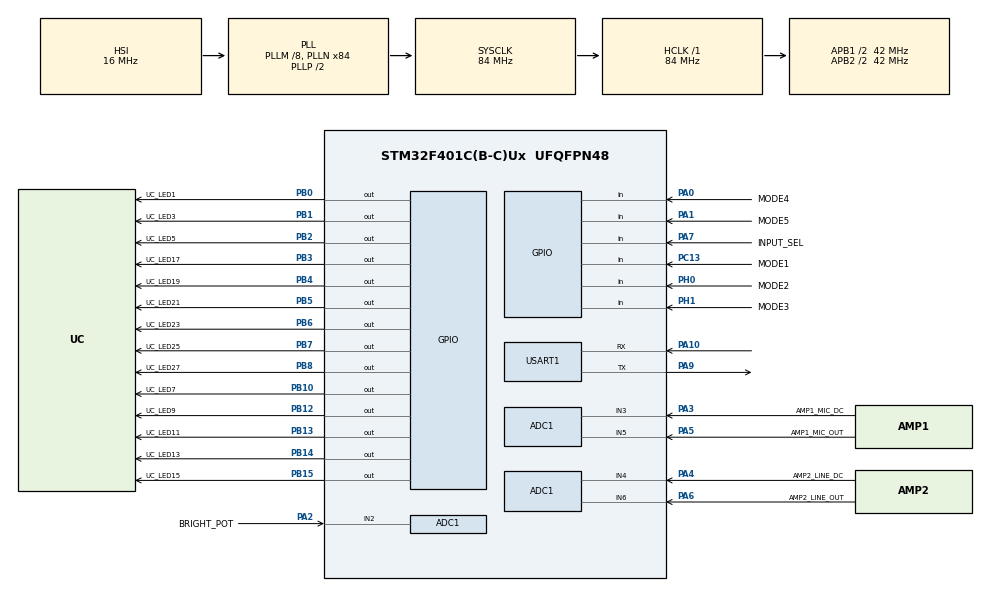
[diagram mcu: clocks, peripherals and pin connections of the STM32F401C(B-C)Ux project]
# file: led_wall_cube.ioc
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ADC1.Channel-0\#ChannelRegularConversion=ADC_CHANNEL_5
ADC1.Channel-5\#ChannelRegularConversion=ADC_CHANNEL_6
ADC1.Channel-6\#ChannelRegularConversion=ADC_CHANNEL_2
ADC1.ContinuousConvMode=ENABLE
ADC1.DMAContinuousRequests=ENABLE
ADC1.DataAlign=ADC_DATAALIGN_RIGHT
ADC1.EOCSelection=ADC_EOC_SEQ_CONV
ADC1.NbrOfConversion=3
ADC1.NbrOfConversionFlag=1
ADC1.Rank-0\#ChannelRegularConversion=1
ADC1.Rank-5\#ChannelRegularConversion=2
ADC1.Rank-6\#ChannelRegularConversion=3
ADC1.SamplingTime-0\#ChannelRegularConversion=ADC_SAMPLETIME_144CYCLES
ADC1.SamplingTime-5\#ChannelRegularConversion=ADC_SAMPLETIME_144CYCLES
ADC1.SamplingTime-6\#ChannelRegularConversion=ADC_SAMPLETIME_144CYCLES
ADC1.master=1
ARM.CMSIS.5.6.0.CMSISJjCORE=true
ARM.CMSIS.5.6.0.CMSISJjDSP=Source
Dma.ADC1.0.Direction=DMA_PERIPH_TO_MEMORY
Dma.ADC1.0.FIFOMode=DMA_FIFOMODE_DISABLE
Dma.ADC1.0.Instance=DMA2_Stream4
Dma.ADC1.0.MemDataAlignment=DMA_MDATAALIGN_HALFWORD
Dma.ADC1.0.MemInc=DMA_MINC_ENABLE
Dma.ADC1.0.Mode=DMA_CIRCULAR
Dma.ADC1.0.PeriphDataAlignment=DMA_PDATAALIGN_HALFWORD
Dma.ADC1.0.PeriphInc=DMA_PINC_DISABLE
Dma.ADC1.0.Priority=DMA_PRIORITY_LOW
Dma.MEMTOMEM.1.Direction=DMA_MEMORY_TO_MEMORY
Dma.MEMTOMEM.1.FIFOMode=DMA_FIFOMODE_ENABLE
Dma.MEMTOMEM.1.FIFOThreshold=DMA_FIFO_THRESHOLD_FULL
Dma.MEMTOMEM.1.Instance=DMA2_Stream7
Dma.MEMTOMEM.1.MemBurst=DMA_MBURST_SINGLE
Dma.MEMTOMEM.1.MemDataAlignment=DMA_MDATAALIGN_HALFWORD
Dma.MEMTOMEM.1.MemInc=DMA_MINC_ENABLE
Dma.MEMTOMEM.1.Mode=DMA_NORMAL
Dma.MEMTOMEM.1.PeriphBurst=DMA_PBURST_SINGLE
Dma.MEMTOMEM.1.PeriphDataAlignment=DMA_PDATAALIGN_BYTE
Dma.MEMTOMEM.1.PeriphInc=DMA_PINC_ENABLE
Dma.MEMTOMEM.1.Priority=DMA_PRIORITY_LOW
Dma.Request0=ADC1
Dma.Request1=MEMTOMEM
Mcu.Family=STM32F4
Mcu.Name=STM32F401C(B-C)Ux
Mcu.Package=UFQFPN48
NVIC.PriorityGroup=NVIC_PRIORITYGROUP_4
PA0-WKUP.GPIO_Label=MODE4
PA0-WKUP.Signal=GPIO_Input
PA1.GPIO_Label=MODE5
PA1.Signal=GPIO_Input
PA10.Mode=Asynchronous
PA10.Signal=USART1_RX
PA13.Mode=Serial_Wire
PA13.Signal=SYS_JTMS-SWDIO
PA14.Mode=Serial_Wire
PA14.Signal=SYS_JTCK-SWCLK
PA2.GPIO_Label=BRIGHT_POT
PA2.Signal=ADCx_IN2
PA3.GPIO_Label=AMP1_MIC_DC
PA3.Signal=ADCx_IN3
PA4.GPIO_Label=AMP2_LINE_DC
PA4.Signal=ADCx_IN4
PA5.GPIO_Label=AMP1_MIC_OUT
PA5.Signal=ADCx_IN5
PA6.GPIO_Label=AMP2_LINE_OUT
PA6.Signal=ADCx_IN6
PA7.GPIO_Label=INPUT_SEL
PA7.Signal=GPIO_Input
PA9.Mode=Asynchronous
PA9.Signal=USART1_TX
PB0.GPIO_Label=UC_LED1
PB0.Signal=GPIO_Output
PB1.GPIO_Label=UC_LED3
PB1.Signal=GPIO_Output
PB10.GPIO_Label=UC_LED7
PB10.Signal=GPIO_Output
PB12.GPIO_Label=UC_LED9
PB12.Signal=GPIO_Output
PB13.GPIO_Label=UC_LED11
PB13.Signal=GPIO_Output
PB14.GPIO_Label=UC_LED13
PB14.Signal=GPIO_Output
PB15.GPIO_Label=UC_LED15
PB15.Signal=GPIO_Output
PB2.GPIO_Label=UC_LED5
PB2.Signal=GPIO_Output
PB3.GPIO_Label=UC_LED17
PB3.Signal=GPIO_Output
PB4.GPIO_Label=UC_LED19
PB4.Signal=GPIO_Output
PB5.GPIO_Label=UC_LED21
PB5.Signal=GPIO_Output
PB6.GPIO_Label=UC_LED23
PB6.Signal=GPIO_Output
PB7.GPIO_Label=UC_LED25
PB7.Signal=GPIO_Output
PB8.GPIO_Label=UC_LED27
PB8.Signal=GPIO_Output
PC13-ANTI_TAMP.GPIO_Label=MODE1
PC13-ANTI_TAMP.Signal=GPIO_Input
PC14-OSC32_IN.Mode=LSE-External-Oscillator
PC14-OSC32_IN.Signal=RCC_OSC32_IN
PC15-OSC32_OUT.Mode=LSE-External-Oscillator
PC15-OSC32_OUT.Signal=RCC_OSC32_OUT
PH0\ -\ OSC_IN.GPIO_Label=MODE2
PH0\ -\ OSC_IN.Signal=GPIO_Input
PH1\ -\ OSC_OUT.GPIO_Label=MODE3
PH1\ -\ OSC_OUT.Signal=GPIO_Input
ProjectManager.HeapSize=0x200
ProjectManager.StackSize=0x400
ProjectManager.TargetToolchain=Makefile
RCC.48MHZClocksFreq_Value=42000000
RCC.AHBFreq_Value=84000000
RCC.APB1CLKDivider=RCC_HCLK_DIV2
RCC.APB1Freq_Value=42000000
RCC.APB1TimFreq_Value=84000000
RCC.APB2CLKDivider=RCC_HCLK_DIV2
RCC.APB2Freq_Value=42000000
RCC.APB2TimFreq_Value=84000000
RCC.CortexFreq_Value=84000000
RCC.HCLKFreq_Value=84000000
RCC.HSE_VALUE=25000000
RCC.HSI_VALUE=16000000
RCC.PLLM=8
RCC.PLLN=84
RCC.SYSCLKFreq_VALUE=84000000
RCC.SYSCLKSource=RCC_SYSCLKSOURCE_PLLCLK
RCC.VCOOutputFreq_Value=168000000
SH.ADCx_IN2.0=ADC1_IN2,IN2
SH.ADCx_IN3.0=ADC1_IN3,IN3
SH.ADCx_IN4.0=ADC1_IN4,IN4
SH.ADCx_IN5.0=ADC1_IN5,IN5
SH.ADCx_IN6.0=ADC1_IN6,IN6
USART1.VirtualMode=VM_ASYNC
VP_ARM.CMSIS_VS_CMSISJjCORE_5.3.0.Mode=CMSISJjCORE
VP_ARM.CMSIS_VS_CMSISJjDSP_1.7.0.Mode=CMSISJjDSP
VP_RTC_VS_RTC_Activate.Mode=RTC_Enabled
VP_TIM10_VS_ClockSourceINT.Mode=Enable_Timer
board=custom

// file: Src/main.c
/* USER CODE BEGIN Header */
/**
  ******************************************************************************
  * @file           : main.c
  * @brief          : Main program body
  ******************************************************************************
  * @attention
  *
  * <h2><center>&copy; Copyright (c) 2020 STMicroelectronics.
  * All rights reserved.</center></h2>
  *
  * This software component is licensed by ST under BSD 3-Clause license,
  * the "License"; You may not use this file except in compliance with the
  * License. You may obtain a copy of the License at:
  *                        opensource.org/licenses/BSD-3-Clause
  *
  ******************************************************************************
  */
/* USER CODE END Header */

#include "main.h"
#include "adc.h"
#include "dma.h"
#include "rtc.h"
#include "tim.h"
#include "usart.h"
#include "gpio.h"

/* USER CODE BEGIN Includes */
#include <stdio.h>
#include <string.h>
#include <stdint.h>

#include "led.h"
#include <math.h>
#include "arm_math.h"
/* USER CODE END Includes */

void SystemClock_Config(void);
/* USER CODE BEGIN PFP */

//index:
//0,3,6,9...  --> mic audio
//1,4,7,10... --> line audio
//2,5,8,11... --> brightness value

uint16_t ADC_values[3 * NUM_SAMPLES];

/* USER CODE END PFP */

/* USER CODE BEGIN 0 */
void print(char* str);
/* USER CODE END 0 */

int main(void)
{

  /* MCU Configuration--------------------------------------------------------*/

  /* Reset of all peripherals, Initializes the Flash interface and the Systick. */
  HAL_Init();

  /* Configure the system clock */
  SystemClock_Config();

  /* Initialize all configured peripherals */
  MX_GPIO_Init();
  MX_DMA_Init();
  MX_ADC1_Init();
  MX_USART1_UART_Init();
  MX_RTC_Init();
  MX_TIM10_Init();
  /* USER CODE BEGIN 2 */
  led_init();
  led_reset();
  led_transfer();

  HAL_ADC_Start_DMA(&hadc1, ADC_values, sizeof(ADC_values)/sizeof(uint16_t));

  uint8_t level_ticker = 0;
  uint32_t prevTick;

  float32_t FFT_Input[NUM_SAMPLES * 2] = {0};
  float32_t FFT_Output[NUM_SAMPLES] = {0};

  arm_cfft_radix4_instance_f32 fft_module;
  float32_t fft_max_value;
  uint32_t fft_max_index;

  uint8_t bar_levels[2*WS2812_BUFFER_COUNT - 1];
  /* USER CODE END 2 */

  /* Infinite loop */
  while (1)
  {

    /* USER CODE BEGIN 3 */
    prevTick = HAL_GetTick();

    uint16_t i;
    for(i = 0; i < NUM_SAMPLES; ++i) {
      FFT_Input[2*i] = (float32_t)ADC_values[3*i + 1];
      FFT_Input[2*i + 1] = 0;
    }

    /* Initialize the CFFT/CIFFT module, intFlag = 0, doBitReverse = 1 */
    arm_cfft_radix4_init_f32(&fft_module, NUM_SAMPLES, 0, 1);
    arm_cfft_radix4_f32(&fft_module, FFT_Input);
    arm_cmplx_mag_f32(FFT_Input, FFT_Output, NUM_SAMPLES);
    arm_max_f32(FFT_Output, NUM_SAMPLES, &fft_max_value, &fft_max_index);

    // //led_bars(&level_ticker, 5);
    // char to_print[20];
    // sprintf(to_print, "MAX: %f, SIG: %d", fft_max_value, ADC_values[1]);
    // print(to_print);

    for(i = 0; i < WS2812_BUFFER_COUNT * 2 - 1; ++i) {
      uint8_t fft_level = FFT_Output[i + 2] / fft_max_value * 10;

      if(fft_level >= bar_levels[i]) bar_levels[i] = fft_level;
      else bar_levels[i] -= level_ticker % 3 == 0;

      led_bar(i, bar_levels[i], 255, 0, 255);
    }

    led_transfer();
    //led_test(255, 0, 0);

    level_ticker++;
    // about 66.6 fps
    while(HAL_GetTick() - prevTick < 15) {}
  }

  /* USER CODE END 3 */
}

void SystemClock_Config(void)
{
  RCC_OscInitTypeDef RCC_OscInitStruct = {0};
  RCC_ClkInitTypeDef RCC_ClkInitStruct = {0};
  RCC_PeriphCLKInitTypeDef PeriphClkInitStruct = {0};

  /** Configure the main internal regulator output voltage
  */
  __HAL_RCC_PWR_CLK_ENABLE();
  __HAL_PWR_VOLTAGESCALING_CONFIG(PWR_REGULATOR_VOLTAGE_SCALE2);
  /** Initializes the CPU, AHB and APB busses clocks
  */
  RCC_OscInitStruct.OscillatorType = RCC_OSCILLATORTYPE_HSI|RCC_OSCILLATORTYPE_LSI;
  RCC_OscInitStruct.HSIState = RCC_HSI_ON;
  RCC_OscInitStruct.HSICalibrationValue = RCC_HSICALIBRATION_DEFAULT;
  RCC_OscInitStruct.LSIState = RCC_LSI_ON;
  RCC_OscInitStruct.PLL.PLLState = RCC_PLL_ON;
  RCC_OscInitStruct.PLL.PLLSource = RCC_PLLSOURCE_HSI;
  RCC_OscInitStruct.PLL.PLLM = 8;
  RCC_OscInitStruct.PLL.PLLN = 84;
  RCC_OscInitStruct.PLL.PLLP = RCC_PLLP_DIV2;
  RCC_OscInitStruct.PLL.PLLQ = 4;
  if (HAL_RCC_OscConfig(&RCC_OscInitStruct) != HAL_OK)
  {
    Error_Handler();
  }
  /** Initializes the CPU, AHB and APB busses clocks
  */
  RCC_ClkInitStruct.ClockType = RCC_CLOCKTYPE_HCLK|RCC_CLOCKTYPE_SYSCLK
                              |RCC_CLOCKTYPE_PCLK1|RCC_CLOCKTYPE_PCLK2;
  RCC_ClkInitStruct.SYSCLKSource = RCC_SYSCLKSOURCE_PLLCLK;
  RCC_ClkInitStruct.AHBCLKDivider = RCC_SYSCLK_DIV1;
  RCC_ClkInitStruct.APB1CLKDivider = RCC_HCLK_DIV2;
  RCC_ClkInitStruct.APB2CLKDivider = RCC_HCLK_DIV2;

  if (HAL_RCC_ClockConfig(&RCC_ClkInitStruct, FLASH_LATENCY_2) != HAL_OK)
  {
    Error_Handler();
  }
  PeriphClkInitStruct.PeriphClockSelection = RCC_PERIPHCLK_RTC;
  PeriphClkInitStruct.RTCClockSelection = RCC_RTCCLKSOURCE_LSI;
  if (HAL_RCCEx_PeriphCLKConfig(&PeriphClkInitStruct) != HAL_OK)
  {
    Error_Handler();
  }
}

/* USER CODE BEGIN 4 */
void print(char* str) {
  size_t len = strlen(str);
  uint8_t to_print[100];

  strcpy(to_print, str);
  strcat(to_print, "\n\r");

  HAL_UART_Transmit(&huart1, to_print, len + 2, 1000);
}

/* USER CODE END 4 */

void Error_Handler(void)
{
}

/************************ (C) COPYRIGHT STMicroelectronics *****END OF FILE****/
